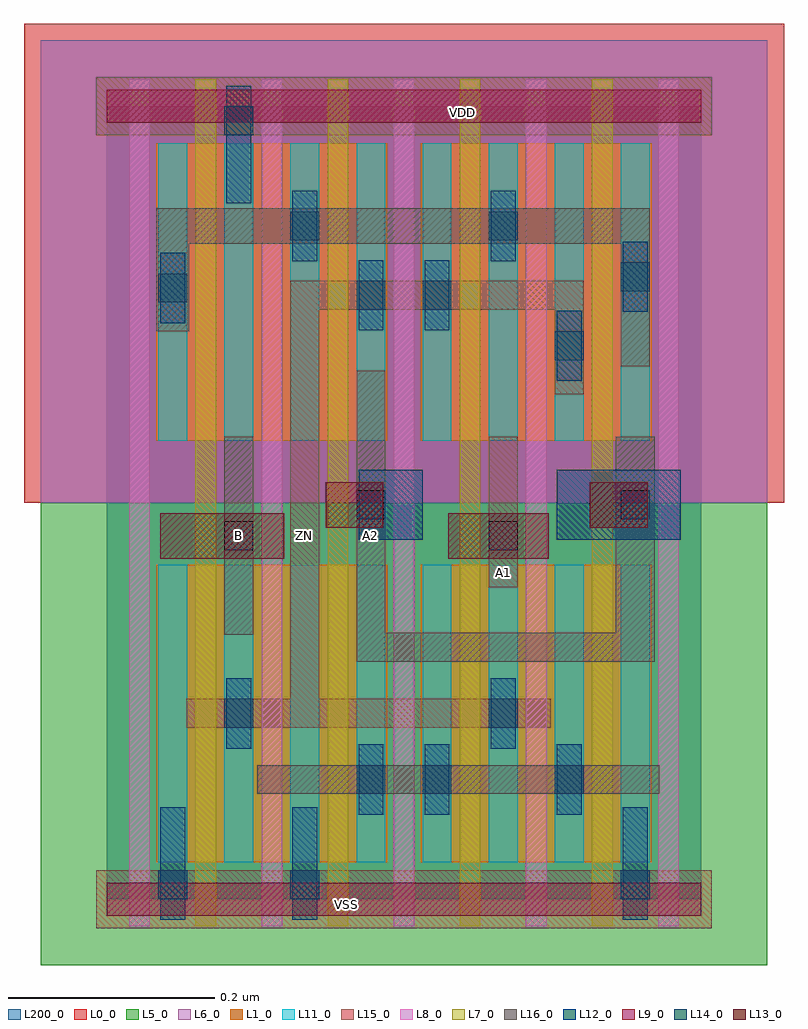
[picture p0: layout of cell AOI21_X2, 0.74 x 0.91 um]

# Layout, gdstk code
import gdstk
lib = gdstk.Library(unit=1e-6, precision=1e-09)
def R(c, l, rs):  # rectangles x0, y0, x1, y1
    for r in rs: c.add(gdstk.rectangle(r[:2], r[2:], *l))
def A(c, l, x, y, w, h, nx, ny, dx, dy):  # array of equal rectangles
    R(c, l, [(x+i*dx, y+j*dy, x+i*dx+w, y+j*dy+h) for i in range(nx) for j in range(ny)])
def P(c, l, *ps):  # polygons
    for p in ps: c.add(gdstk.Polygon(p, *l))
L0_0 = (0, 0)
L1_0 = (1, 0)
L5_0 = (5, 0)
L6_0 = (6, 0)
L7_0 = (7, 0)
L8_0 = (8, 0)
L9_0 = (9, 0)
L11_0 = (11, 0)
L12_0 = (12, 0)
L13_0 = (13, 0)
L14_0 = (14, 0)
L15_0 = (15, 0)
L16_0 = (16, 0)
L200_0 = (200, 0)

aoi21_x2 = lib.new_cell('AOI21_X2')
R(aoi21_x2, L0_0, [(-0.08,0.384,0.656,0.848)])
R(aoi21_x2, L1_0, [(0.048,0.036,0.272,0.324), (0.304,0.036,0.528,0.324), (0.048,0.444,0.272,0.732), (0.304,0.444,0.528,0.732)])
R(aoi21_x2, L5_0, [(-0.064,-0.064,0.64,0.384)])
R(aoi21_x2, L6_0, [(-0.064,0.384,0.64,0.832)])
A(aoi21_x2, L7_0, 0.086, -0.026, 0.02, 0.82, 4, 1, 0.128, 0)
A(aoi21_x2, L8_0, 0.022, -0.026, 0.02, 0.82, 5, 1, 0.128, 0)
R(aoi21_x2, L9_0, [(0,-0.016,0.576,0.016), (0,0.752,0.576,0.784)])
A(aoi21_x2, L11_0, 0.05, 0.036, 0.028, 0.288, 8, 2, 0.064, 0.408)
R(aoi21_x2, L12_0, [(0.052,-0.02,0.076,0.089), (0.18,-0.02,0.204,0.089), (0.5,-0.02,0.524,0.089), (0.244,0.082,0.268,0.15), (0.308,0.082,0.332,0.15), (0.436,0.082,0.46,0.15), (0.116,0.146,0.14,0.214), (0.372,0.146,0.396,0.214), (0.244,0.348,0.306,0.416), (0.436,0.348,0.556,0.416), (0.436,0.502,0.46,0.57), (0.244,0.551,0.268,0.619), (0.308,0.551,0.332,0.619), (0.052,0.558,0.076,0.626), (0.5,0.569,0.524,0.637), (0.18,0.618,0.204,0.686), (0.372,0.618,0.396,0.686), (0.116,0.674,0.14,0.788)])
R(aoi21_x2, L13_0, [(0.052,0.33,0.172,0.374), (0.331,0.33,0.428,0.374), (0.212,0.36,0.268,0.404), (0.468,0.36,0.524,0.404)])
R(aoi21_x2, L14_0, [(0.05,0,0.078,0.028), (0.178,0,0.206,0.028), (0.498,0,0.526,0.028), (0.242,0.102,0.27,0.13), (0.306,0.102,0.334,0.13), (0.434,0.102,0.462,0.13), (0.114,0.166,0.142,0.194), (0.37,0.166,0.398,0.194), (0.114,0.338,0.142,0.366), (0.37,0.338,0.398,0.366), (0.242,0.368,0.27,0.396), (0.498,0.368,0.526,0.396), (0.434,0.522,0.462,0.55), (0.242,0.571,0.27,0.599), (0.306,0.571,0.334,0.599), (0.05,0.578,0.078,0.606), (0.498,0.589,0.526,0.617), (0.178,0.638,0.206,0.666), (0.37,0.638,0.398,0.666), (0.114,0.74,0.142,0.768)])
R(aoi21_x2, L15_0, [(-0.01,-0.028,0.586,0.028), (0.37,0.302,0.398,0.448), (-0.01,0.74,0.586,0.796)])
P(aoi21_x2, L15_0, [(0.206,0.571),(0.434,0.571),(0.434,0.489),(0.462,0.489),(0.462,0.599),(0.178,0.599),(0.178,0.194),(0.077,0.194),(0.077,0.166),(0.43,0.166),(0.43,0.194),(0.206,0.194)])
R(aoi21_x2, L16_0, [(0.146,0.102,0.535,0.13), (0.114,0.256,0.142,0.448)])
P(aoi21_x2, L16_0, [(0.048,0.55),(0.08,0.55),(0.08,0.635),(0.498,0.635),(0.498,0.516),(0.526,0.516),(0.526,0.669),(0.048,0.669)],
  [(0.242,0.23),(0.531,0.23),(0.531,0.448),(0.493,0.448),(0.493,0.258),(0.27,0.258),(0.27,0.512),(0.242,0.512)])
R(aoi21_x2, L200_0, [(0,0,0.576,0.768)])
aoi21_x2.add(gdstk.Label('VSS', (0.232,-0.005), layer=15, texttype=20))
aoi21_x2.add(gdstk.Label('ZN', (0.192,0.352), layer=15, texttype=20))
aoi21_x2.add(gdstk.Label('A1', (0.384,0.316), layer=15, texttype=20))
aoi21_x2.add(gdstk.Label('VDD', (0.345,0.762), layer=15, texttype=20))
aoi21_x2.add(gdstk.Label('A2', (0.256,0.352), layer=16, texttype=20))
aoi21_x2.add(gdstk.Label('B', (0.128,0.352), layer=16, texttype=20))

lib.write_gds('AOI21_X2.gds')
